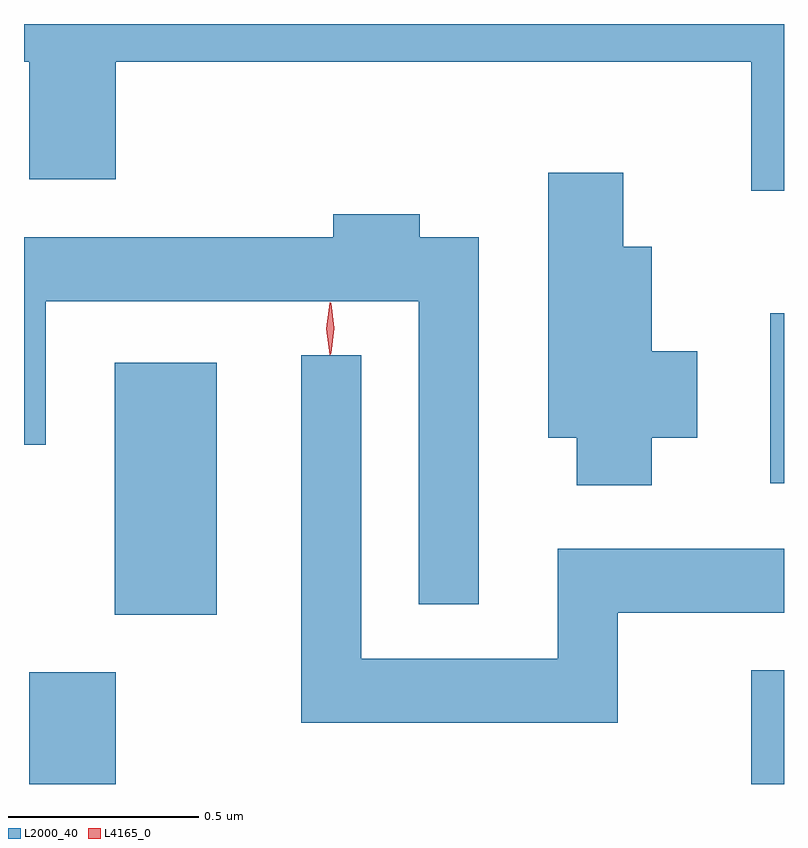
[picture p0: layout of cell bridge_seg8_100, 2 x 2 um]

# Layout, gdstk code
import gdstk
lib = gdstk.Library(unit=1e-6, precision=1e-09)
def R(c, l, rs):  # rectangles x0, y0, x1, y1
    for r in rs: c.add(gdstk.rectangle(r[:2], r[2:], *l))
def P(c, l, *ps):  # polygons
    for p in ps: c.add(gdstk.Polygon(p, *l))
L2000_40 = (2000, 40)
L4165_0 = (4165, 0)

bridge_seg8_100 = lib.new_cell('bridge_seg8_100')
R(bridge_seg8_100, L2000_40, [(1525.581,1821.195,1525.809,1821.489), (1527.481,1821.195,1527.567,1821.494), (1525.806,1821.641,1526.074,1822.304), (1527.531,1821.986,1527.567,1822.434)])
P(bridge_seg8_100, L2000_40, [(1527.567,1823.195),(1525.567,1823.195),(1525.567,1823.096),(1525.581,1823.096),(1525.581,1822.786),(1525.809,1822.786),(1525.809,1823.096),(1527.481,1823.096),(1527.481,1822.756),(1527.567,1822.756)],
  [(1527.219,1822.106),(1527.339,1822.106),(1527.339,1822.334),(1527.219,1822.334),(1527.219,1822.609),(1527.144,1822.609),(1527.144,1822.804),(1526.946,1822.804),(1526.946,1822.106),(1527.021,1822.106),(1527.021,1821.981),(1527.219,1821.981)],
  [(1526.764,1822.634),(1526.609,1822.634),(1526.609,1822.694),(1526.381,1822.694),(1526.381,1822.634),(1525.567,1822.634),(1525.567,1822.088),(1525.624,1822.088),(1525.624,1822.466),(1526.606,1822.466),(1526.606,1821.668),(1526.764,1821.668)],
  [(1527.129,1821.646),(1527.567,1821.646),(1527.567,1821.814),(1526.971,1821.814),(1526.971,1821.524),(1526.454,1821.524),(1526.454,1822.323),(1526.296,1822.323),(1526.296,1821.356),(1527.129,1821.356)])
P(bridge_seg8_100, L4165_0, [(1526.373,1822.323),(1526.372,1822.324),(1526.363,1822.393),(1526.372,1822.462),(1526.373,1822.463),(1526.373,1822.462),(1526.383,1822.393),(1526.373,1822.324)],
  [(1526.374,1822.327),(1526.374,1822.328),(1526.364,1822.394),(1526.374,1822.46),(1526.374,1822.46),(1526.375,1822.46),(1526.384,1822.394),(1526.375,1822.328)])

lib.write_gds('bridge_seg8_100.gds')
